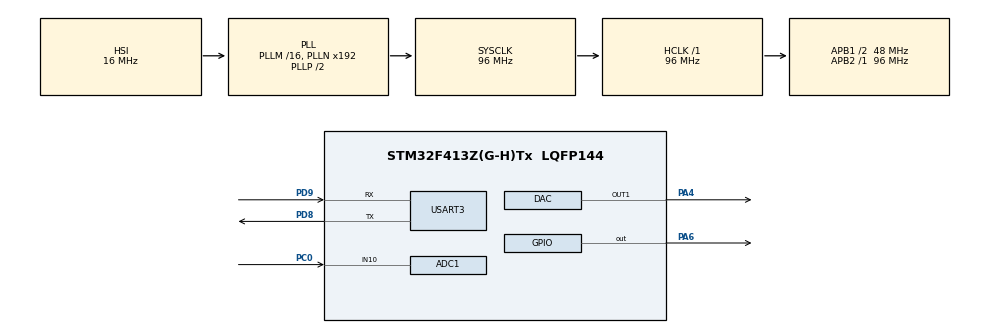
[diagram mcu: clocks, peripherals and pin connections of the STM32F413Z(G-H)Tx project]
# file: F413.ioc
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ADC1.Channel-3\#ChannelRegularConversion=ADC_CHANNEL_10
ADC1.DMAContinuousRequests=ENABLE
ADC1.ExternalTrigConv=ADC_EXTERNALTRIGCONV_T2_TRGO
ADC1.NbrOfConversionFlag=1
ADC1.Rank-3\#ChannelRegularConversion=1
ADC1.SamplingTime-3\#ChannelRegularConversion=ADC_SAMPLETIME_3CYCLES
ADC1.master=1
DAC.DAC_Trigger=DAC_TRIGGER_T2_TRGO
Dma.ADC1.1.Direction=DMA_PERIPH_TO_MEMORY
Dma.ADC1.1.FIFOMode=DMA_FIFOMODE_DISABLE
Dma.ADC1.1.Instance=DMA2_Stream0
Dma.ADC1.1.MemDataAlignment=DMA_MDATAALIGN_HALFWORD
Dma.ADC1.1.MemInc=DMA_MINC_ENABLE
Dma.ADC1.1.Mode=DMA_NORMAL
Dma.ADC1.1.PeriphDataAlignment=DMA_PDATAALIGN_HALFWORD
Dma.ADC1.1.PeriphInc=DMA_PINC_DISABLE
Dma.ADC1.1.Priority=DMA_PRIORITY_VERY_HIGH
Dma.DAC1.0.Direction=DMA_MEMORY_TO_PERIPH
Dma.DAC1.0.FIFOMode=DMA_FIFOMODE_DISABLE
Dma.DAC1.0.Instance=DMA1_Stream5
Dma.DAC1.0.MemDataAlignment=DMA_MDATAALIGN_HALFWORD
Dma.DAC1.0.MemInc=DMA_MINC_ENABLE
Dma.DAC1.0.Mode=DMA_NORMAL
Dma.DAC1.0.PeriphDataAlignment=DMA_PDATAALIGN_HALFWORD
Dma.DAC1.0.PeriphInc=DMA_PINC_DISABLE
Dma.DAC1.0.Priority=DMA_PRIORITY_VERY_HIGH
Dma.Request0=DAC1
Dma.Request1=ADC1
Mcu.Family=STM32F4
Mcu.Name=STM32F413Z(G-H)Tx
Mcu.Package=LQFP144
NVIC.ADC_IRQn=true\:0\:0\:false\:false\:true\:true\:true
NVIC.DMA1_Stream5_IRQn=true\:0\:0\:false\:false\:true\:false\:true
NVIC.DMA2_Stream0_IRQn=true\:0\:0\:false\:false\:true\:false\:true
NVIC.PriorityGroup=NVIC_PRIORITYGROUP_4
NVIC.TIM1_BRK_TIM9_IRQn=true\:0\:0\:false\:false\:true\:true\:true
NVIC.TIM1_CC_IRQn=true\:0\:0\:false\:false\:true\:true\:true
NVIC.TIM1_TRG_COM_TIM11_IRQn=true\:0\:0\:false\:false\:true\:true\:true
NVIC.TIM1_UP_TIM10_IRQn=true\:0\:0\:false\:false\:true\:true\:true
NVIC.TIM2_IRQn=true\:0\:0\:false\:false\:true\:true\:true
NVIC.TIM6_DAC_IRQn=true\:0\:0\:false\:false\:true\:true\:true
PA4.Signal=COMP_DAC1_group
PA6.GPIO_PuPd=GPIO_PULLDOWN
PA6.GPIO_Speed=GPIO_SPEED_FREQ_VERY_HIGH
PA6.Signal=GPIO_Output
PC0.Signal=ADCx_IN10
PD8.Mode=Asynchronous
PD8.Signal=USART3_TX
PD9.Mode=Asynchronous
PD9.Signal=USART3_RX
ProjectManager.HeapSize=0x200
ProjectManager.StackSize=0x400
ProjectManager.TargetToolchain=Makefile
RCC.AHBFreq_Value=96000000
RCC.APB1CLKDivider=RCC_HCLK_DIV2
RCC.APB1Freq_Value=48000000
RCC.APB1TimFreq_Value=96000000
RCC.APB2Freq_Value=96000000
RCC.APB2TimFreq_Value=96000000
RCC.CortexFreq_Value=96000000
RCC.HCLKFreq_Value=96000000
RCC.SYSCLKFreq_VALUE=96000000
RCC.SYSCLKSource=RCC_SYSCLKSOURCE_PLLCLK
RCC.USBFreq_Value=96000000
RCC.VCOOutputFreq_Value=192000000
SH.ADCx_IN10.0=ADC1_IN10,IN10
SH.COMP_DAC1_group.0=DAC_OUT1,DAC_OUT1
TIM1.Period=95
TIM1.Prescaler=1
TIM1.TIM_MasterOutputTrigger=TIM_TRGO_UPDATE
TIM1.TIM_MasterSlaveMode=TIM_MASTERSLAVEMODE_ENABLE
TIM2.Period=95
TIM2.Prescaler=0
TIM2.TIM_MasterOutputTrigger=TIM_TRGO_UPDATE
TIM2.TIM_MasterSlaveMode=TIM_MASTERSLAVEMODE_DISABLE
USART3.VirtualMode=VM_ASYNC
VP_TIM1_VS_ClockSourceINT.Mode=Internal
VP_TIM1_VS_OPM.Mode=OPM_bit
VP_TIM2_VS_ClockSourceINT.Mode=Internal
board=custom

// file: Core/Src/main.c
/* USER CODE BEGIN Header */
/**
  ******************************************************************************
  * @file           : main.c
  * @brief          : Main program body
  ******************************************************************************
  * @attention
  *
  * <h2><center>&copy; Copyright (c) 2021 STMicroelectronics.
  * All rights reserved.</center></h2>
  *
  * This software component is licensed by ST under BSD 3-Clause license,
  * the "License"; You may not use this file except in compliance with the
  * License. You may obtain a copy of the License at:
  *                        opensource.org/licenses/BSD-3-Clause
  *
  ******************************************************************************
  */
/* USER CODE END Header */
#include "main.h"

/* USER CODE BEGIN PD */
#define N_points 1024
/* USER CODE END PD */

ADC_HandleTypeDef hadc1;
DMA_HandleTypeDef hdma_adc1;

DAC_HandleTypeDef hdac;
DMA_HandleTypeDef hdma_dac1;

TIM_HandleTypeDef htim1;
TIM_HandleTypeDef htim2;

UART_HandleTypeDef huart3;

/* USER CODE BEGIN PV */

//__IO uint16_t ADC_number = 0;
__IO static uint16_t ADC_res;
__IO static uint16_t ADC_array[N_points] = {0,};
__IO static uint16_t DAC_array[N_points] = {0,};
__IO static uint8_t  Receive_array[255] = {0,};
__IO static uint8_t  Transmit_array[N_points] = {0,};

__IO uint8_t  _timestep = 1; // (step in us)*2-1, if only not 0.5 (in that case == 0)
__IO uint16_t _time_on = 500; // between 0 and 1000
__IO uint16_t _cur_max = 2000; // max ~ 3.3V; 2V = 2480 = 0x9B0
__IO uint16_t _cur_min = 000; // can't put less than 30 mV = 37 = 0x25
__IO uint8_t  _avgn = 1; // It is unused now
/* USER CODE END PV */

void SystemClock_Config(void);
static void MX_GPIO_Init(void);
static void MX_DMA_Init(void);
static void MX_DAC_Init(void);
static void MX_USART3_UART_Init(void);
static void MX_TIM1_Init(void);
static void MX_TIM2_Init(void);
static void MX_ADC1_Init(void);
/* USER CODE BEGIN PFP */
void prog_init(void);
void loop(void);
void blink(uint8_t num_blink);
uint16_t send_result(uint16_t res);
uint16_t read_ADC_values(uint16_t N_of);
uint8_t send_back(void);
uint8_t measure(void);
uint8_t try_to_read(void);
volatile uint16_t get_num(char *num_target_array, uint8_t str_len);
volatile uint16_t z_func(char *target_array);
/* USER CODE END PFP */

/* USER CODE BEGIN 0 */
void prog_init(void) {
  BSP_LED_Init(LED1);
  BSP_LED_Init(LED2);
  BSP_LED_Init(LED3);

  BSP_LED_On(LED3);
  HAL_Delay(50);
  BSP_LED_Off(LED3);
  HAL_Delay(50);
}

void loop() {
//  blink(1);
  try_to_read();

//  HAL_Delay(1);
}

void blink(uint8_t num_blink) {
  for (int i = 0; i<num_blink; i++) {
    HAL_Delay(125);
    BSP_LED_On(LED2);
    HAL_Delay(125);
    BSP_LED_Off(LED2);
  }
  BSP_LED_Off(LED1);
  BSP_LED_Off(LED3);
}

uint8_t try_to_read(void) {
  Receive_array[0] = 0;
  HAL_UART_Receive(&huart3, (uint8_t*) Receive_array, 255, 50);
  HAL_Delay(1);

/*
  if ((nekoneko[0] > 2)&&(nekoneko[0] < 40)) {
    //HAL_UART_Transmit(&huart3, nekoneko, 255, 50);
  }
  if (nekoneko[0] == 1) {
//    _timestep = 0;
//    measure();
//    send_back();
  }
  if (nekoneko[0] == 2) {
//    _timestep = 1;
//    measure();
//    send_back();
  }
  if (nekoneko[0] == 3) {
//    _timestep = 3;
//    measure();
//    send_back();
  }
*/
  if (Receive_array[0] > 3) {
    z_func((char*) Receive_array);
    for (int i = 0; i<255; i++) {
      Receive_array[i] = 0;
    }
  }
//  measure();
  return Receive_array[0];
}

uint8_t measure(void) {
  uint16_t i;

  MX_TIM2_Init();

  for (i = 0; i<_time_on; i++) {
    DAC_array[i] = _cur_max;
  }
  for (i = _time_on; i<N_points; i++) {
    DAC_array[i] = _cur_min;
  }

  for (i = 0; i<N_points; i++) {
    ADC_array[i] = 0;
    Transmit_array[i] = 0xff;
  }

  HAL_GPIO_WritePin(GPIOA, GPIO_PIN_6, GPIO_PIN_SET);

  read_ADC_values(N_points);

//  HAL_DAC_Stop(&hdac, DAC_CHANNEL_1);
//  HAL_ADC_Stop(&hadc1);

  for (i=0; i<N_points; i++) {
    Transmit_array[i] = ADC_array[i] >> 1;
//    Transmit_array[i*2+1] = ADC_array[i] & 0xFF;
  }

  return 0;
}

uint8_t send_back(void) {
  HAL_UART_Transmit(&huart3, (uint8_t*) Transmit_array, N_points, 0xFF);
  return 0;
}

uint16_t read_ADC_values(uint16_t N_of) {
  HAL_ADC_Start_DMA(&hadc1, (uint32_t*)&ADC_array, N_points);
  HAL_DAC_Start_DMA(&hdac, DAC_CHANNEL_1, (uint32_t*)&DAC_array, N_points, DAC_ALIGN_12B_R);

  HAL_Delay(1);
  HAL_TIM_Base_Start(&htim2);
  HAL_Delay(2*_timestep);
  HAL_TIM_Base_Stop(&htim2);

  return N_of;
}

volatile uint16_t z_func(char *target_array) {
  uint8_t num_flag = 0;
  uint16_t func_num = 0;
  char z1[] = "step";
  char z2[] = "imp";
  char z3[] = "start";
  char z4[] = "loadb";
  char z7[] = "cur";
  char back[] = "back";
  char avgn[] = "avgn";
  char def[] = "def";

  if (strstr(target_array, z1) != NULL) {
    func_num = get_num(target_array, 4);
    if (func_num > 0) func_num = (func_num*2-1);
    _timestep = func_num;
//    printf("step %d\n", func_num);
    num_flag = 1;
    HAL_UART_Transmit(&huart3, (uint8_t*)"s>\n", 3, 0xFF);
  }
  if (strstr(target_array, z2) != NULL) {
    func_num = get_num(target_array, 3);
    _time_on = func_num*10;
//    printf("imp %d\n", func_num);
    num_flag = 1;
  }
  if (strstr(target_array, z3) != NULL) {
    measure();
//    printf("start\n");
    num_flag = 0;
  }
  if (strstr(target_array, z4) != NULL) {
    send_back();
//    printf("loadb\n");
    num_flag = 0;
  }
  if (strstr(target_array, z7) != NULL) {
    func_num = get_num(target_array, 3);
    _cur_max = func_num*(2*40.96/3.3);
//    printf("cur %d\n", func_num);
    num_flag = 1;
  }
  if (strstr(target_array, back) != NULL) {
    func_num = get_num(target_array, 4);
    _cur_min = func_num*(2*40.96/3.3);
//    printf("cur %d\n", func_num);
    num_flag = 1;
  }
  if (strstr(target_array, avgn) != NULL) {
    func_num = get_num(target_array, 4);
    _avgn = func_num;
//    printf("cur %d\n", func_num);
    num_flag = 1;
  }
  if (strstr(target_array, def) != NULL) {
    _timestep = 1;
    _cur_max = 12.5*(2*40.96/3.3);
    _time_on = 500;
//    printf("def\n");
    num_flag = 0;
  }

  if (num_flag == 0) {
    return 0;
  } else {
    return func_num;
  }
}

volatile uint16_t get_num(char *num_target_array, uint8_t str_len) {
  uint8_t trr = strlen(num_target_array);
  uint8_t array_end = trr;
  char only_num[255] = "";
  uint16_t num_in_func;

  for (int i=trr-1; i>0; i--) {
    if ((num_target_array[i] == 0x0D)||(num_target_array[i] == 0x0A)) (array_end = i);
  }

  if (strstr(num_target_array, "step0.5") != NULL) {
    num_in_func = 0;
  } else {
    for (int i = str_len; i < array_end; i++) {
      only_num[i-str_len] = num_target_array[i];
    }
    num_in_func = atoi(only_num);
  }
  return num_in_func;
}

/* USER CODE END 0 */

int main(void)
{

  /* MCU Configuration--------------------------------------------------------*/

  /* Reset of all peripherals, Initializes the Flash interface and the Systick. */
  HAL_Init();

  /* USER CODE BEGIN Init */

  prog_init();

  /* USER CODE END Init */

  /* Configure the system clock */
  SystemClock_Config();

  /* Initialize all configured peripherals */
  MX_GPIO_Init();
  MX_DMA_Init();
  MX_DAC_Init();
  MX_USART3_UART_Init();
  MX_TIM1_Init();
  MX_TIM2_Init();
  MX_ADC1_Init();
  /* USER CODE BEGIN 2 */
  HAL_DAC_Start(&hdac, DAC_CHANNEL_1);
  measure();
//  read_ADC_values(1000);
  /* USER CODE END 2 */

  /* Infinite loop */
  /* USER CODE BEGIN WHILE */
  while (1) {
    loop();
    /* USER CODE END WHILE */

  }
}

void SystemClock_Config(void)
{
  RCC_OscInitTypeDef RCC_OscInitStruct = {0};
  RCC_ClkInitTypeDef RCC_ClkInitStruct = {0};

  /** Configure the main internal regulator output voltage
  */
  __HAL_RCC_PWR_CLK_ENABLE();
  __HAL_PWR_VOLTAGESCALING_CONFIG(PWR_REGULATOR_VOLTAGE_SCALE1);
  /** Initializes the RCC Oscillators according to the specified parameters
  * in the RCC_OscInitTypeDef structure.
  */
  RCC_OscInitStruct.OscillatorType = RCC_OSCILLATORTYPE_HSI;
  RCC_OscInitStruct.HSIState = RCC_HSI_ON;
  RCC_OscInitStruct.HSICalibrationValue = RCC_HSICALIBRATION_DEFAULT;
  RCC_OscInitStruct.PLL.PLLState = RCC_PLL_ON;
  RCC_OscInitStruct.PLL.PLLSource = RCC_PLLSOURCE_HSI;
  RCC_OscInitStruct.PLL.PLLM = 16;
  RCC_OscInitStruct.PLL.PLLN = 192;
  RCC_OscInitStruct.PLL.PLLP = RCC_PLLP_DIV2;
  RCC_OscInitStruct.PLL.PLLQ = 2;
  RCC_OscInitStruct.PLL.PLLR = 2;
  if (HAL_RCC_OscConfig(&RCC_OscInitStruct) != HAL_OK)
  {
    Error_Handler();
  }
  /** Initializes the CPU, AHB and APB buses clocks
  */
  RCC_ClkInitStruct.ClockType = RCC_CLOCKTYPE_HCLK|RCC_CLOCKTYPE_SYSCLK
                              |RCC_CLOCKTYPE_PCLK1|RCC_CLOCKTYPE_PCLK2;
  RCC_ClkInitStruct.SYSCLKSource = RCC_SYSCLKSOURCE_PLLCLK;
  RCC_ClkInitStruct.AHBCLKDivider = RCC_SYSCLK_DIV1;
  RCC_ClkInitStruct.APB1CLKDivider = RCC_HCLK_DIV2;
  RCC_ClkInitStruct.APB2CLKDivider = RCC_HCLK_DIV1;

  if (HAL_RCC_ClockConfig(&RCC_ClkInitStruct, FLASH_LATENCY_3) != HAL_OK)
  {
    Error_Handler();
  }
}

static void MX_ADC1_Init(void)
{

  /* USER CODE BEGIN ADC1_Init 0 */
  // Input for ADC_Channel_10 is PC0
  /* USER CODE END ADC1_Init 0 */

  ADC_ChannelConfTypeDef sConfig = {0};

  /* USER CODE BEGIN ADC1_Init 1 */

  /*
  Try next to increase ADC speed:
  static void MX_ADC1_Init(uint8_t timestep)

  hadc1.Init.ClockPrescaler = ADC_CLOCK_SYNC_PCLK_DIV2;
  or add nest strings instead auto "preacaler" string
  */

  if (_timestep == 0) {
    hadc1.Init.ClockPrescaler = ADC_CLOCK_SYNC_PCLK_DIV2;
  } else {
    hadc1.Init.ClockPrescaler = ADC_CLOCK_SYNC_PCLK_DIV4;
  }

  /* USER CODE END ADC1_Init 1 */
  /** Configure the global features of the ADC (Clock, Resolution, Data Alignment and number of conversion)
  */
  hadc1.Instance = ADC1;
//  hadc1.Init.ClockPrescaler = ADC_CLOCK_SYNC_PCLK_DIV2;
//  hadc1.Init.Resolution = ADC_RESOLUTION_12B;
  hadc1.Init.Resolution = ADC_RESOLUTION_10B;
  hadc1.Init.ScanConvMode = DISABLE;
  hadc1.Init.ContinuousConvMode = DISABLE;
  hadc1.Init.DiscontinuousConvMode = DISABLE;
  hadc1.Init.ExternalTrigConvEdge = ADC_EXTERNALTRIGCONVEDGE_RISING;
  hadc1.Init.ExternalTrigConv = ADC_EXTERNALTRIGCONV_T2_TRGO;
  hadc1.Init.DataAlign = ADC_DATAALIGN_RIGHT;
  hadc1.Init.NbrOfConversion = 1;
  hadc1.Init.DMAContinuousRequests = ENABLE;
  hadc1.Init.EOCSelection = ADC_EOC_SINGLE_CONV;
  if (HAL_ADC_Init(&hadc1) != HAL_OK)
  {
    Error_Handler();
  }
  /** Configure for the selected ADC regular channel its corresponding rank in the sequencer and its sample time.
  */
  sConfig.Channel = ADC_CHANNEL_10;
  sConfig.Rank = 1;
  sConfig.SamplingTime = ADC_SAMPLETIME_3CYCLES;
  if (HAL_ADC_ConfigChannel(&hadc1, &sConfig) != HAL_OK)
  {
    Error_Handler();
  }

}

static void MX_DAC_Init(void)
{

  /* USER CODE BEGIN DAC_Init 0 */
  // Output for DAC_channel_1 is PA4
  /* USER CODE END DAC_Init 0 */

  DAC_ChannelConfTypeDef sConfig = {0};

  /** DAC Initialization
  */
  hdac.Instance = DAC;
  if (HAL_DAC_Init(&hdac) != HAL_OK)
  {
    Error_Handler();
  }
  /** DAC channel OUT1 config
  */
  sConfig.DAC_Trigger = DAC_TRIGGER_T2_TRGO;
  sConfig.DAC_OutputBuffer = DAC_OUTPUTBUFFER_ENABLE;
//  sConfig.DAC_OutputBuffer = DAC_OUTPUTBUFFER_DISABLE;
  if (HAL_DAC_ConfigChannel(&hdac, &sConfig, DAC_CHANNEL_1) != HAL_OK)
  {
    Error_Handler();
  }

}

static void MX_TIM1_Init(void)
{

  TIM_ClockConfigTypeDef sClockSourceConfig = {0};
  TIM_MasterConfigTypeDef sMasterConfig = {0};

  htim1.Instance = TIM1;
  htim1.Init.Prescaler = 1;
  htim1.Init.CounterMode = TIM_COUNTERMODE_UP;
  htim1.Init.Period = 95;
  htim1.Init.ClockDivision = TIM_CLOCKDIVISION_DIV1;
  htim1.Init.RepetitionCounter = 0;
  htim1.Init.AutoReloadPreload = TIM_AUTORELOAD_PRELOAD_DISABLE;
  if (HAL_TIM_Base_Init(&htim1) != HAL_OK)
  {
    Error_Handler();
  }
  sClockSourceConfig.ClockSource = TIM_CLOCKSOURCE_INTERNAL;
  if (HAL_TIM_ConfigClockSource(&htim1, &sClockSourceConfig) != HAL_OK)
  {
    Error_Handler();
  }
  if (HAL_TIM_OnePulse_Init(&htim1, TIM_OPMODE_SINGLE) != HAL_OK)
  {
    Error_Handler();
  }
  sMasterConfig.MasterOutputTrigger = TIM_TRGO_UPDATE;
  sMasterConfig.MasterSlaveMode = TIM_MASTERSLAVEMODE_ENABLE;
  if (HAL_TIMEx_MasterConfigSynchronization(&htim1, &sMasterConfig) != HAL_OK)
  {
    Error_Handler();
  }

}

static void MX_TIM2_Init(void)
{

  TIM_ClockConfigTypeDef sClockSourceConfig = {0};
  TIM_MasterConfigTypeDef sMasterConfig = {0};

  /* USER CODE BEGIN TIM2_Init 1 */
  MX_ADC1_Init();
  // also put it instead auto "prescaler" string
  htim2.Init.Prescaler = _timestep;
  /* USER CODE END TIM2_Init 1 */

  htim2.Instance = TIM2;
//  htim2.Init.Prescaler = timestep;
  htim2.Init.CounterMode = TIM_COUNTERMODE_UP;
  htim2.Init.Period = 47;
  htim2.Init.ClockDivision = TIM_CLOCKDIVISION_DIV1;
  htim2.Init.AutoReloadPreload = TIM_AUTORELOAD_PRELOAD_DISABLE;
  if (HAL_TIM_Base_Init(&htim2) != HAL_OK)
  {
    Error_Handler();
  }
  sClockSourceConfig.ClockSource = TIM_CLOCKSOURCE_INTERNAL;
  if (HAL_TIM_ConfigClockSource(&htim2, &sClockSourceConfig) != HAL_OK)
  {
    Error_Handler();
  }
  sMasterConfig.MasterOutputTrigger = TIM_TRGO_UPDATE;
  sMasterConfig.MasterSlaveMode = TIM_MASTERSLAVEMODE_DISABLE;
  if (HAL_TIMEx_MasterConfigSynchronization(&htim2, &sMasterConfig) != HAL_OK)
  {
    Error_Handler();
  }

}

static void MX_USART3_UART_Init(void)
{

  /* USER CODE BEGIN USART3_Init 0 */

  // if we need to connect via Unix-based system
  // stty 115200 -F /dev/ttyACM0 -raw
  // cat /dev/ttyACM0 | hexdump -C
  // echo $'\x01' > /dev/ttyACM0

  /* USER CODE END USART3_Init 0 */

  huart3.Instance = USART3;
//  huart3.Init.BaudRate = 115200;
  huart3.Init.BaudRate = 57600;
  huart3.Init.WordLength = UART_WORDLENGTH_8B;
  huart3.Init.StopBits = UART_STOPBITS_1;
  huart3.Init.Parity = UART_PARITY_NONE;
  huart3.Init.Mode = UART_MODE_TX_RX;
  huart3.Init.HwFlowCtl = UART_HWCONTROL_NONE;
  huart3.Init.OverSampling = UART_OVERSAMPLING_16;
  if (HAL_UART_Init(&huart3) != HAL_OK)
  {
    Error_Handler();
  }

}

static void MX_DMA_Init(void)
{

  /* DMA controller clock enable */
  __HAL_RCC_DMA1_CLK_ENABLE();
  __HAL_RCC_DMA2_CLK_ENABLE();

  /* DMA interrupt init */
  /* DMA1_Stream5_IRQn interrupt configuration */
  HAL_NVIC_SetPriority(DMA1_Stream5_IRQn, 0, 0);
  HAL_NVIC_EnableIRQ(DMA1_Stream5_IRQn);
  /* DMA2_Stream0_IRQn interrupt configuration */
  HAL_NVIC_SetPriority(DMA2_Stream0_IRQn, 0, 0);
  HAL_NVIC_EnableIRQ(DMA2_Stream0_IRQn);

}

static void MX_GPIO_Init(void)
{
  GPIO_InitTypeDef GPIO_InitStruct = {0};

  /* GPIO Ports Clock Enable */
  __HAL_RCC_GPIOC_CLK_ENABLE();
  __HAL_RCC_GPIOA_CLK_ENABLE();
  __HAL_RCC_GPIOD_CLK_ENABLE();

  /*Configure GPIO pin Output Level */
  HAL_GPIO_WritePin(GPIOA, GPIO_PIN_6, GPIO_PIN_RESET);

  /*Configure GPIO pin : PA6 */
  GPIO_InitStruct.Pin = GPIO_PIN_6;
  GPIO_InitStruct.Mode = GPIO_MODE_OUTPUT_PP;
  GPIO_InitStruct.Pull = GPIO_PULLDOWN;
  GPIO_InitStruct.Speed = GPIO_SPEED_FREQ_VERY_HIGH;
  HAL_GPIO_Init(GPIOA, &GPIO_InitStruct);

}

/* USER CODE BEGIN 4 */
uint16_t send_result(uint16_t res) {
  uint8_t c[] = {res>>8, res & 0xFF};
  HAL_UART_Transmit(&huart3, c, 2, 0xFF);
  return res;
}

void HAL_ADC_ConvCpltCallback(ADC_HandleTypeDef* hadc1)
{
  /* Turn LED1 on: Transfer process is correct */
//  DAC_val = 0;
  HAL_GPIO_WritePin(GPIOA, GPIO_PIN_6, GPIO_PIN_RESET);
//  ADC_array[ADC_number] = HAL_ADC_GetValue(&hadc);
//  ADC_number ++;
//  BSP_LED_Off(LED1);
}

/* USER CODE END 4 */

void Error_Handler(void)
{
  __disable_irq();
  while (1)
  {
  }
}

/************************ (C) COPYRIGHT STMicroelectronics *****END OF FILE****/
